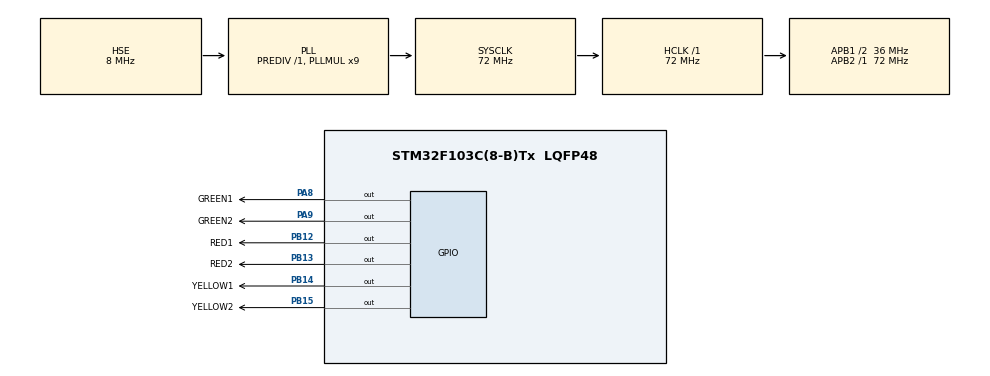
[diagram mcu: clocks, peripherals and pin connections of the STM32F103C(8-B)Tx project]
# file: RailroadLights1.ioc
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Mcu.Family=STM32F1
Mcu.Name=STM32F103C(8-B)Tx
Mcu.Package=LQFP48
NVIC.PriorityGroup=NVIC_PRIORITYGROUP_4
NVIC.TIM1_UP_IRQn=true\:0\:0\:false\:false\:true\:true\:true\:true
NVIC.TIM2_IRQn=true\:0\:0\:false\:false\:true\:true\:true\:true
PA13.Mode=Serial_Wire
PA13.Signal=SYS_JTMS-SWDIO
PA14.Mode=Serial_Wire
PA14.Signal=SYS_JTCK-SWCLK
PA8.GPIO_Label=GREEN1 
PA8.Signal=GPIO_Output
PA9.GPIO_Label=GREEN2 
PA9.Signal=GPIO_Output
PB12.GPIO_Label=RED1 
PB12.Signal=GPIO_Output
PB13.GPIO_Label=RED2 
PB13.Signal=GPIO_Output
PB14.GPIO_Label=YELLOW1 
PB14.Signal=GPIO_Output
PB15.GPIO_Label=YELLOW2 
PB15.Signal=GPIO_Output
PD0-OSC_IN.Mode=HSE-External-Oscillator
PD0-OSC_IN.Signal=RCC_OSC_IN
PD1-OSC_OUT.Mode=HSE-External-Oscillator
PD1-OSC_OUT.Signal=RCC_OSC_OUT
ProjectManager.HeapSize=0x200
ProjectManager.StackSize=0x400
ProjectManager.TargetToolchain=STM32CubeIDE
RCC.AHBFreq_Value=72000000
RCC.APB1CLKDivider=RCC_HCLK_DIV2
RCC.APB1Freq_Value=36000000
RCC.APB1TimFreq_Value=72000000
RCC.APB2Freq_Value=72000000
RCC.APB2TimFreq_Value=72000000
RCC.HCLKFreq_Value=72000000
RCC.PLLMUL=RCC_PLL_MUL9
RCC.PLLSourceVirtual=RCC_PLLSOURCE_HSE
RCC.SYSCLKFreq_VALUE=72000000
RCC.SYSCLKSource=RCC_SYSCLKSOURCE_PLLCLK
RCC.USBFreq_Value=72000000
TIM1.Period=1
TIM1.Prescaler=35999
TIM2.Period=1
TIM2.Prescaler=35999
VP_TIM1_VS_ClockSourceINT.Mode=Internal
VP_TIM2_VS_ClockSourceINT.Mode=Internal
board=custom

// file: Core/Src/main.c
/* USER CODE BEGIN Header */
/**
  ******************************************************************************
  * @file           : main.c
  * @brief          : Main program body
  ******************************************************************************
  * @attention
  *
  * Copyright (c) 2023 STMicroelectronics.
  * All rights reserved.
  *
  * This software is licensed under terms that can be found in the LICENSE file
  * in the root directory of this software component.
  * If no LICENSE file comes with this software, it is provided AS-IS.
  *
  ******************************************************************************
  */
/* USER CODE END Header */
#include "main.h"

TIM_HandleTypeDef htim1;
TIM_HandleTypeDef htim2;

void SystemClock_Config(void);
static void MX_GPIO_Init(void);
static void MX_TIM1_Init(void);
static void MX_TIM2_Init(void);
/* USER CODE BEGIN PFP */
void Timer1_Interrupt();
void Timer2_Interrupt();
/* USER CODE END PFP */

/* USER CODE BEGIN 0 */

uint32_t timerCount = 0;
uint16_t timer2Count = 0;

unsigned char blinkFlag = 0;

// step flags
unsigned char sFlags[8] = {0,0,0,0,0,0,0,0};

// time for each step
uint32_t timings[8] = {1000,3000,6000,8000,9000,11000,14000,16000};

// step change timer
void Timer1_Interrupt()
{
	if (timerCount == timings[7])
	{
		sFlags[7] = 1;
		timerCount = 0;
	}
	else if (timerCount == timings[6])
	{
		sFlags[6] = 1;
	}
	else if (timerCount == timings[5])
	{
		sFlags[5] = 1;
	}
	else if (timerCount == timings[4])
	{
		sFlags[4] = 1;
	}
	else if (timerCount == timings[3])
	{
		sFlags[3] = 1;
	}
	else if (timerCount == timings[2])
	{
		sFlags[2] = 1;
	}
	else if (timerCount == timings[1])
	{
		sFlags[1] = 1;
	}
	else if(timerCount == timings[0])
	{
		sFlags[0] = 1;
	}
	++timerCount;
}

// led blink timer
void Timer2_Interrupt()
{
	if (timer2Count == 500)
	{
		blinkFlag = 1;
		timer2Count = 0;
	}
	++timer2Count;
}

void Blink(GPIO_TypeDef *GPIOx, uint16_t GPIO_Pin)
{
	if ((blinkFlag == 1 && sFlags[1] == 1) ||
		(blinkFlag == 1 && sFlags[5] == 1)	)
		{
			HAL_GPIO_TogglePin(GPIOx, GPIO_Pin);
		  	blinkFlag = 0;
		}
}
/* USER CODE END 0 */

int main(void)
{
  /* USER CODE BEGIN 1 */
	for(int i=0; i<255; i++)
	{
		for(int j=0; j<50; j++)
		{
			  asm ("nop""\n\tnop""\n\tnop""\n\tnop""\n\tnop""\n\tnop");
			  asm ("nop""\n\tnop""\n\tnop""\n\tnop""\n\tnop""\n\tnop");
			  asm ("nop""\n\tnop""\n\tnop""\n\tnop""\n\tnop""\n\tnop");
			  asm ("nop""\n\tnop""\n\tnop""\n\tnop""\n\tnop""\n\tnop");
			  asm ("nop""\n\tnop""\n\tnop""\n\tnop""\n\tnop""\n\tnop");
			  asm ("nop""\n\tnop""\n\tnop""\n\tnop""\n\tnop""\n\tnop");
		}
	}
  /* USER CODE END 1 */

  /* MCU Configuration--------------------------------------------------------*/

  /* Reset of all peripherals, Initializes the Flash interface and the Systick. */
  HAL_Init();

  /* Configure the system clock */
  SystemClock_Config();

  /* Initialize all configured peripherals */
  MX_GPIO_Init();
  MX_TIM1_Init();
  MX_TIM2_Init();
  /* USER CODE BEGIN 2 */
  HAL_TIM_Base_Start_IT(&htim1);
  HAL_TIM_Base_Start_IT(&htim2);
  /* USER CODE END 2 */

  /* Infinite loop */
  /* USER CODE BEGIN WHILE */
  while (1)
  {
	  // 2 step
	  if(sFlags[0] == 1)
	  {
		  sFlags[0] = 0;
		  HAL_GPIO_WritePin(GPIOB, RED1_Pin, GPIO_PIN_SET);
		  HAL_GPIO_WritePin(GPIOB, RED2_Pin, GPIO_PIN_RESET);
		  HAL_GPIO_WritePin(GPIOB, YELLOW1_Pin, GPIO_PIN_RESET);
		  HAL_GPIO_WritePin(GPIOB, YELLOW2_Pin, GPIO_PIN_RESET);
		  HAL_GPIO_WritePin(GPIOA, GREEN1_Pin, GPIO_PIN_RESET);
		  HAL_GPIO_WritePin(GPIOA, GREEN2_Pin, GPIO_PIN_SET);
	  }
	  // 3 step
	  if(sFlags[1] == 1)
	  {
		  //sFlags[1] = 0;
		  HAL_GPIO_WritePin(GPIOB, RED1_Pin, GPIO_PIN_SET);
		  HAL_GPIO_WritePin(GPIOB, RED2_Pin, GPIO_PIN_RESET);
		  HAL_GPIO_WritePin(GPIOB, YELLOW1_Pin, GPIO_PIN_RESET);
		  HAL_GPIO_WritePin(GPIOB, YELLOW2_Pin, GPIO_PIN_RESET);
		  HAL_GPIO_WritePin(GPIOA, GREEN1_Pin, GPIO_PIN_RESET);
		  Blink(GPIOA, GREEN2_Pin);
		  //HAL_GPIO_WritePin(GPIOA, GREEN2_Pin, GPIO_PIN_SET);
	  }
	  // 4 step
	  if(sFlags[2] == 1)
	  {
		  sFlags[1] = 0;
		  sFlags[2] = 0;
		  HAL_GPIO_WritePin(GPIOB, RED1_Pin, GPIO_PIN_SET);
		  HAL_GPIO_WritePin(GPIOB, RED2_Pin, GPIO_PIN_RESET);
		  HAL_GPIO_WritePin(GPIOB, YELLOW1_Pin, GPIO_PIN_RESET);
		  HAL_GPIO_WritePin(GPIOB, YELLOW2_Pin, GPIO_PIN_SET);
		  HAL_GPIO_WritePin(GPIOA, GREEN1_Pin, GPIO_PIN_RESET);
		  HAL_GPIO_WritePin(GPIOA, GREEN2_Pin, GPIO_PIN_RESET);
	  }
	  // 5 step
	  if(sFlags[3] == 1)
	  {
		  sFlags[3] = 0;
		  HAL_GPIO_WritePin(GPIOB, RED1_Pin, GPIO_PIN_SET);
		  HAL_GPIO_WritePin(GPIOB, RED2_Pin, GPIO_PIN_SET);
		  HAL_GPIO_WritePin(GPIOB, YELLOW1_Pin, GPIO_PIN_SET);
		  HAL_GPIO_WritePin(GPIOB, YELLOW2_Pin, GPIO_PIN_RESET);
		  HAL_GPIO_WritePin(GPIOA, GREEN1_Pin, GPIO_PIN_RESET);
		  HAL_GPIO_WritePin(GPIOA, GREEN2_Pin, GPIO_PIN_RESET);
	  }
	  // 6 step
	  if(sFlags[4] == 1)
	  {
		  sFlags[4] = 0;
		  HAL_GPIO_WritePin(GPIOB, RED1_Pin, GPIO_PIN_RESET);
		  HAL_GPIO_WritePin(GPIOB, RED2_Pin, GPIO_PIN_SET);
		  HAL_GPIO_WritePin(GPIOB, YELLOW1_Pin, GPIO_PIN_RESET);
		  HAL_GPIO_WritePin(GPIOB, YELLOW2_Pin, GPIO_PIN_RESET);
		  HAL_GPIO_WritePin(GPIOA, GREEN1_Pin, GPIO_PIN_SET);
		  HAL_GPIO_WritePin(GPIOA, GREEN2_Pin, GPIO_PIN_RESET);
	  }
	  // 7 step
	  if(sFlags[5] == 1)
	  {
		  //sFlags[5] = 0;
		  HAL_GPIO_WritePin(GPIOB, RED1_Pin, GPIO_PIN_RESET);
		  HAL_GPIO_WritePin(GPIOB, RED2_Pin, GPIO_PIN_SET);
		  HAL_GPIO_WritePin(GPIOB, YELLOW1_Pin, GPIO_PIN_RESET);
		  HAL_GPIO_WritePin(GPIOB, YELLOW2_Pin, GPIO_PIN_RESET);
		  //HAL_GPIO_WritePin(GPIOA, GREEN1_Pin, GPIO_PIN_SET);
		  HAL_GPIO_WritePin(GPIOA, GREEN2_Pin, GPIO_PIN_RESET);
		  Blink(GPIOA, GREEN1_Pin);

	  }
	  // 8 step
	  if(sFlags[6] == 1)
	  {
		  sFlags[5] = 0;
		  sFlags[6] = 0;
		  HAL_GPIO_WritePin(GPIOB, RED1_Pin, GPIO_PIN_RESET);
		  HAL_GPIO_WritePin(GPIOB, RED2_Pin, GPIO_PIN_SET);
		  HAL_GPIO_WritePin(GPIOB, YELLOW1_Pin, GPIO_PIN_SET);
		  HAL_GPIO_WritePin(GPIOB, YELLOW2_Pin, GPIO_PIN_RESET);
		  HAL_GPIO_WritePin(GPIOA, GREEN1_Pin, GPIO_PIN_RESET);
		  HAL_GPIO_WritePin(GPIOA, GREEN2_Pin, GPIO_PIN_RESET);
	  }
	  // 9 (1) step
	  if(sFlags[7] == 1)
	  {
		  sFlags[7] = 0;
		  HAL_GPIO_WritePin(GPIOB, RED1_Pin, GPIO_PIN_SET);
		  HAL_GPIO_WritePin(GPIOB, RED2_Pin, GPIO_PIN_SET);
		  HAL_GPIO_WritePin(GPIOB, YELLOW1_Pin, GPIO_PIN_RESET);
		  HAL_GPIO_WritePin(GPIOB, YELLOW2_Pin, GPIO_PIN_SET);
		  HAL_GPIO_WritePin(GPIOA, GREEN1_Pin, GPIO_PIN_RESET);
		  HAL_GPIO_WritePin(GPIOA, GREEN2_Pin, GPIO_PIN_RESET);
	  }
    /* USER CODE END WHILE */

  }
}

void SystemClock_Config(void)
{
  RCC_OscInitTypeDef RCC_OscInitStruct = {0};
  RCC_ClkInitTypeDef RCC_ClkInitStruct = {0};

  /** Initializes the RCC Oscillators according to the specified parameters
  * in the RCC_OscInitTypeDef structure.
  */
  RCC_OscInitStruct.OscillatorType = RCC_OSCILLATORTYPE_HSE;
  RCC_OscInitStruct.HSEState = RCC_HSE_ON;
  RCC_OscInitStruct.HSEPredivValue = RCC_HSE_PREDIV_DIV1;
  RCC_OscInitStruct.HSIState = RCC_HSI_ON;
  RCC_OscInitStruct.PLL.PLLState = RCC_PLL_ON;
  RCC_OscInitStruct.PLL.PLLSource = RCC_PLLSOURCE_HSE;
  RCC_OscInitStruct.PLL.PLLMUL = RCC_PLL_MUL9;
  if (HAL_RCC_OscConfig(&RCC_OscInitStruct) != HAL_OK)
  {
    Error_Handler();
  }

  /** Initializes the CPU, AHB and APB buses clocks
  */
  RCC_ClkInitStruct.ClockType = RCC_CLOCKTYPE_HCLK|RCC_CLOCKTYPE_SYSCLK
                              |RCC_CLOCKTYPE_PCLK1|RCC_CLOCKTYPE_PCLK2;
  RCC_ClkInitStruct.SYSCLKSource = RCC_SYSCLKSOURCE_PLLCLK;
  RCC_ClkInitStruct.AHBCLKDivider = RCC_SYSCLK_DIV1;
  RCC_ClkInitStruct.APB1CLKDivider = RCC_HCLK_DIV2;
  RCC_ClkInitStruct.APB2CLKDivider = RCC_HCLK_DIV1;

  if (HAL_RCC_ClockConfig(&RCC_ClkInitStruct, FLASH_LATENCY_2) != HAL_OK)
  {
    Error_Handler();
  }
}

static void MX_TIM1_Init(void)
{

  TIM_ClockConfigTypeDef sClockSourceConfig = {0};
  TIM_MasterConfigTypeDef sMasterConfig = {0};

  htim1.Instance = TIM1;
  htim1.Init.Prescaler = 35999;
  htim1.Init.CounterMode = TIM_COUNTERMODE_UP;
  htim1.Init.Period = 1;
  htim1.Init.ClockDivision = TIM_CLOCKDIVISION_DIV1;
  htim1.Init.RepetitionCounter = 0;
  htim1.Init.AutoReloadPreload = TIM_AUTORELOAD_PRELOAD_DISABLE;
  if (HAL_TIM_Base_Init(&htim1) != HAL_OK)
  {
    Error_Handler();
  }
  sClockSourceConfig.ClockSource = TIM_CLOCKSOURCE_INTERNAL;
  if (HAL_TIM_ConfigClockSource(&htim1, &sClockSourceConfig) != HAL_OK)
  {
    Error_Handler();
  }
  sMasterConfig.MasterOutputTrigger = TIM_TRGO_RESET;
  sMasterConfig.MasterSlaveMode = TIM_MASTERSLAVEMODE_DISABLE;
  if (HAL_TIMEx_MasterConfigSynchronization(&htim1, &sMasterConfig) != HAL_OK)
  {
    Error_Handler();
  }

}

static void MX_TIM2_Init(void)
{

  TIM_ClockConfigTypeDef sClockSourceConfig = {0};
  TIM_MasterConfigTypeDef sMasterConfig = {0};

  htim2.Instance = TIM2;
  htim2.Init.Prescaler = 35999;
  htim2.Init.CounterMode = TIM_COUNTERMODE_UP;
  htim2.Init.Period = 1;
  htim2.Init.ClockDivision = TIM_CLOCKDIVISION_DIV1;
  htim2.Init.AutoReloadPreload = TIM_AUTORELOAD_PRELOAD_DISABLE;
  if (HAL_TIM_Base_Init(&htim2) != HAL_OK)
  {
    Error_Handler();
  }
  sClockSourceConfig.ClockSource = TIM_CLOCKSOURCE_INTERNAL;
  if (HAL_TIM_ConfigClockSource(&htim2, &sClockSourceConfig) != HAL_OK)
  {
    Error_Handler();
  }
  sMasterConfig.MasterOutputTrigger = TIM_TRGO_RESET;
  sMasterConfig.MasterSlaveMode = TIM_MASTERSLAVEMODE_DISABLE;
  if (HAL_TIMEx_MasterConfigSynchronization(&htim2, &sMasterConfig) != HAL_OK)
  {
    Error_Handler();
  }

}

static void MX_GPIO_Init(void)
{
  GPIO_InitTypeDef GPIO_InitStruct = {0};

  /* GPIO Ports Clock Enable */
  __HAL_RCC_GPIOD_CLK_ENABLE();
  __HAL_RCC_GPIOB_CLK_ENABLE();
  __HAL_RCC_GPIOA_CLK_ENABLE();

  /*Configure GPIO pin Output Level */
  HAL_GPIO_WritePin(GPIOB, RED1_Pin|RED2_Pin|YELLOW1_Pin|YELLOW2_Pin, GPIO_PIN_RESET);

  /*Configure GPIO pin Output Level */
  HAL_GPIO_WritePin(GPIOA, GREEN1_Pin|GREEN2_Pin, GPIO_PIN_RESET);

  /*Configure GPIO pins : RED1_Pin RED2_Pin YELLOW1_Pin YELLOW2_Pin */
  GPIO_InitStruct.Pin = RED1_Pin|RED2_Pin|YELLOW1_Pin|YELLOW2_Pin;
  GPIO_InitStruct.Mode = GPIO_MODE_OUTPUT_PP;
  GPIO_InitStruct.Pull = GPIO_NOPULL;
  GPIO_InitStruct.Speed = GPIO_SPEED_FREQ_LOW;
  HAL_GPIO_Init(GPIOB, &GPIO_InitStruct);

  /*Configure GPIO pins : GREEN1_Pin GREEN2_Pin */
  GPIO_InitStruct.Pin = GREEN1_Pin|GREEN2_Pin;
  GPIO_InitStruct.Mode = GPIO_MODE_OUTPUT_PP;
  GPIO_InitStruct.Pull = GPIO_NOPULL;
  GPIO_InitStruct.Speed = GPIO_SPEED_FREQ_LOW;
  HAL_GPIO_Init(GPIOA, &GPIO_InitStruct);

}

void Error_Handler(void)
{
  while(1)
  {
  }
}
